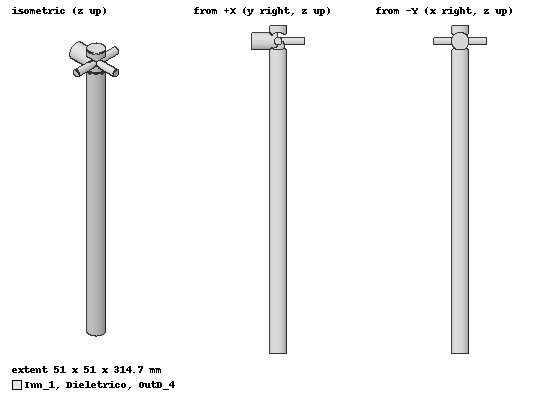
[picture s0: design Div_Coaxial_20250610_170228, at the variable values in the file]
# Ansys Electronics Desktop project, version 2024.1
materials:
  vacuum: permittivity=1
  Mat_Ar: permittivity=1.0006 permeability=1
  pec: conductivity=1e+30
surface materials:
  Steel-oxidised-surface

design Div_Coaxial_20250610_170228 (HFSS, HFSS Modal Network, model units mm)
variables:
  d_int_tube = 17mm
  sec_len_mm = 74.92564mm
  len_inner_mm = 299.70256mm
  len_outer_mm = 314.68769mm
  d_out_50ohm = 7.381395mm
  di1 = 8.4291415mm
  di2 = 10.351847mm
  di3 = 11.970606mm
  di4 = 13.265798mm
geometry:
  Dieletrico [vacuum] = cylinder(axis=Z, base_centre=(0mm, 0mm, 0mm), radius=d_int_tube/2, height=len_outer_mm)
  Inn_1 [pec] = cylinder(axis=Z, base_centre=(0mm, 0mm, sec_len_mm*0), radius=di1/2, height=sec_len_mm)
  Inn_2 = cylinder(axis=Z, base_centre=(0mm, 0mm, sec_len_mm*1), radius=di2/2, height=sec_len_mm)
  Inn_3 = cylinder(axis=Z, base_centre=(0mm, 0mm, sec_len_mm*2), radius=di3/2, height=sec_len_mm)
  Inn_4 = cylinder(axis=Z, base_centre=(0mm, 0mm, sec_len_mm*3), radius=di4/2, height=sec_len_mm)
  Inn_1.unite(Inn_2, Inn_3, Inn_4)
  OutD_1 = cylinder(axis=X, base_centre=(0mm, 0mm, len_inner_mm), radius=d_int_tube/2, height=d_int_tube*1.5)
  OutD_1.rotate(axis=Z, angle=0deg)
  OutI_1 = cylinder(axis=X, base_centre=(0mm, 0mm, len_inner_mm), radius=d_out_50ohm/2, height=d_int_tube*1.5)
  OutI_1.rotate(axis=Z, angle=0deg)
  Dieletrico.subtract(OutD_1)
  OutD_2 = cylinder(axis=X, base_centre=(0mm, 0mm, len_inner_mm), radius=d_int_tube/2, height=d_int_tube*1.5)
  OutD_2.rotate(axis=Z, angle=90deg)
  OutI_2 = cylinder(axis=X, base_centre=(0mm, 0mm, len_inner_mm), radius=d_out_50ohm/2, height=d_int_tube*1.5)
  OutI_2.rotate(axis=Z, angle=90deg)
  Dieletrico.subtract(OutD_2)
  OutD_3 = cylinder(axis=X, base_centre=(0mm, 0mm, len_inner_mm), radius=d_int_tube/2, height=d_int_tube*1.5)
  OutD_3.rotate(axis=Z, angle=180deg)
  OutI_3 = cylinder(axis=X, base_centre=(0mm, 0mm, len_inner_mm), radius=d_out_50ohm/2, height=d_int_tube*1.5)
  OutI_3.rotate(axis=Z, angle=180deg)
  Dieletrico.subtract(OutD_3)
  OutD_4 [vacuum] = cylinder(axis=X, base_centre=(0mm, 0mm, len_inner_mm), radius=d_int_tube/2, height=d_int_tube*1.5)
  OutD_4.rotate(axis=Z, angle=270deg)
  OutI_4 = cylinder(axis=X, base_centre=(0mm, 0mm, len_inner_mm), radius=d_out_50ohm/2, height=d_int_tube*1.5)
  OutI_4.rotate(axis=Z, angle=270deg)
  Inn_1.unite(OutI_1..OutI_4)
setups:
  Setup1: HfssDriven Frequency=1GHz MaxDeltaE=0.01 MaximumPasses=10 MinimumPasses=1 MinimumConvergedPasses=1 PercentRefinement=30 BasisOrder=1 DrivenSolverType="Direct Solver"
